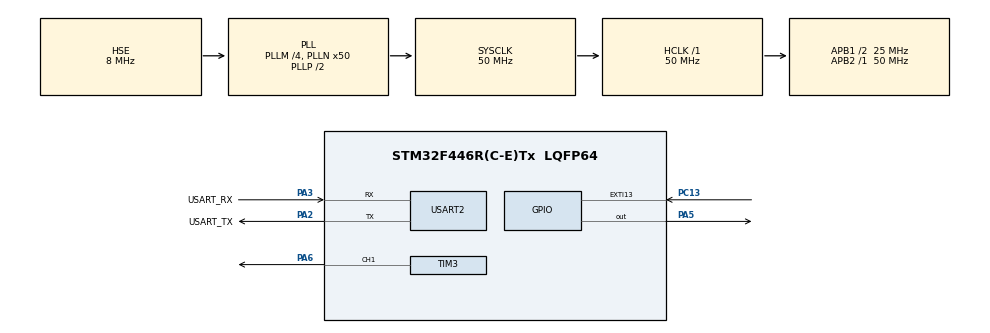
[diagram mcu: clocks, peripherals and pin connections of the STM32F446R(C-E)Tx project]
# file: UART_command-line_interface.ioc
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Mcu.Family=STM32F4
Mcu.Name=STM32F446R(C-E)Tx
Mcu.Package=LQFP64
NUCLEO-F446RE.BUTTON=1
NUCLEO-F446RE.LD1=true
NVIC.EXTI15_10_IRQn=true\:0\:0\:false\:false\:true\:false\:true\:true
NVIC.PriorityGroup=NVIC_PRIORITYGROUP_0
NVIC.USART2_IRQn=true\:0\:0\:false\:false\:true\:true\:true\:true
PA13.GPIO_Label=TMS
PA13.Signal=SYS_JTMS-SWDIO
PA14.GPIO_Label=TCK
PA14.Signal=SYS_JTCK-SWCLK
PA2.GPIO_Label=USART_TX
PA2.Mode=Asynchronous
PA2.Signal=USART2_TX
PA3.GPIO_Label=USART_RX
PA3.Mode=Asynchronous
PA3.Signal=USART2_RX
PA5.Signal=GPIO_Output
PA6.Signal=S_TIM3_CH1
PB3.GPIO_Label=SWO
PB3.Signal=SYS_JTDO-SWO
PC13.Signal=GPXTI13
PC14-OSC32_IN.Signal=RCC_OSC32_IN
PC15-OSC32_OUT.Signal=RCC_OSC32_OUT
PH0-OSC_IN.Mode=HSE-External-Oscillator
PH0-OSC_IN.Signal=RCC_OSC_IN
PH1-OSC_OUT.Mode=HSE-External-Oscillator
PH1-OSC_OUT.Signal=RCC_OSC_OUT
ProjectManager.HeapSize=0x200
ProjectManager.StackSize=0x400
ProjectManager.TargetToolchain=STM32CubeIDE
RCC.AHBFreq_Value=50000000
RCC.APB1CLKDivider=RCC_HCLK_DIV2
RCC.APB1Freq_Value=25000000
RCC.APB1TimFreq_Value=50000000
RCC.APB2Freq_Value=50000000
RCC.APB2TimFreq_Value=50000000
RCC.CortexFreq_Value=50000000
RCC.FLatency-AdvancedSettings=FLASH_LATENCY_1
RCC.HCLKFreq_Value=50000000
RCC.HSE_VALUE=8000000
RCC.HSI_VALUE=16000000
RCC.LSE_VALUE=32768
RCC.PLLM=4
RCC.PLLN=50
RCC.PLLSourceVirtual=RCC_PLLSOURCE_HSE
RCC.SYSCLKFreq_VALUE=50000000
RCC.SYSCLKSource=RCC_SYSCLKSOURCE_PLLCLK
RCC.USBFreq_Value=50000000
RCC.VCOOutputFreq_Value=100000000
SH.S_TIM3_CH1.0=TIM3_CH1,PWM Generation1 CH1
TIM3.Channel-PWM\ Generation1\ CH1=TIM_CHANNEL_1
USART2.VirtualMode=VM_ASYNC
VP_NUCLEO-F446RE_VS_BSP_COMMON.Mode=COMMON
VP_TIM3_VS_ClockSourceINT.Mode=Internal
board=NUCLEO-F446RE

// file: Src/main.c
/* USER CODE BEGIN Header */
/**
  ******************************************************************************
  * @file           : main.c
  * @brief          : Main program body
  ******************************************************************************
  * @attention
  *
  * Copyright (c) 2026 STMicroelectronics.
  * All rights reserved.
  *
  * This software is licensed under terms that can be found in the LICENSE file
  * in the root directory of this software component.
  * If no LICENSE file comes with this software, it is provided AS-IS.
  *
  ******************************************************************************
  */
/* USER CODE END Header */
#include "main.h"

/* USER CODE BEGIN Includes */
#include "ringbuffer.h"
#include <string.h>
#include <stdlib.h>
/* USER CODE END Includes */

/* USER CODE BEGIN PM */
#define RB_USABLE 32
#define RB_ARRAY_SIZE (RB_USABLE + 1)

#define LINE_MAX 63

/* USER CODE END PM */

TIM_HandleTypeDef htim3;

UART_HandleTypeDef huart2;

void SystemClock_Config(void);
static void MX_GPIO_Init(void);
static void MX_USART2_UART_Init(void);
static void MX_TIM3_Init(void);
/* USER CODE BEGIN PFP */
void String_Parse_Compare(uint8_t *line_buf);
/* USER CODE END PFP */

/* USER CODE BEGIN 0 */
uint8_t rx_byte;
uint8_t test_reads;

ringBuffer rb;
uint8_t rb_storage[RB_ARRAY_SIZE];

/* USER CODE END 0 */

int main(void)
{

  /* USER CODE BEGIN 1 */
	rb_init(&rb, rb_storage, RB_ARRAY_SIZE);
	uint8_t line_buf[LINE_MAX + 1];
	int line_len = 0;

  /* USER CODE END 1 */

  /* MCU Configuration--------------------------------------------------------*/

  /* Reset of all peripherals, Initializes the Flash interface and the Systick. */
  HAL_Init();

  /* Configure the system clock */
  SystemClock_Config();

  /* Initialize all configured peripherals */
  MX_GPIO_Init();
  MX_USART2_UART_Init();
  MX_TIM3_Init();

  /* Initialize leds */
  BSP_LED_Init(LED2);

  /* Initialize USER push-button, will be used to trigger an interrupt each time it's pressed.*/
  BSP_PB_Init(BUTTON_USER, BUTTON_MODE_EXTI);

  /* Infinite loop */
  /* USER CODE BEGIN WHILE */
  HAL_TIM_PWM_Start(&htim3, TIM_CHANNEL_1);
  HAL_UART_Receive_IT(&huart2, &rx_byte, 1);

  while (1)
  {
	  uint8_t out_byte;
	  while(rb_read(&rb, &out_byte)) {
		  // New line case
		  if (out_byte == '\r' || out_byte == '\n') {

			  // Handles empty '\n' gracefully
			  if (line_len > 0) {
				  line_buf[line_len] = '\0';
				  String_Parse_Compare(line_buf);
			  }
			  line_len = 0;
		  }

		  // Check if line_buf will overflow
		  else if (line_len >= LINE_MAX) {
		  			  // Alert user with some kind of msg maybe
		  			  line_len = 0;
		  		  }

		  // Add the byte into line_buf
		  else {
			  line_buf[line_len++] = out_byte;
		  }
	  }

    /* USER CODE END WHILE */

  }
}

void SystemClock_Config(void)
{
  RCC_OscInitTypeDef RCC_OscInitStruct = {0};
  RCC_ClkInitTypeDef RCC_ClkInitStruct = {0};

  /** Configure the main internal regulator output voltage
  */
  __HAL_RCC_PWR_CLK_ENABLE();
  __HAL_PWR_VOLTAGESCALING_CONFIG(PWR_REGULATOR_VOLTAGE_SCALE3);

  /** Initializes the RCC Oscillators according to the specified parameters
  * in the RCC_OscInitTypeDef structure.
  */
  RCC_OscInitStruct.OscillatorType = RCC_OSCILLATORTYPE_HSE;
  RCC_OscInitStruct.HSEState = RCC_HSE_ON;
  RCC_OscInitStruct.PLL.PLLState = RCC_PLL_ON;
  RCC_OscInitStruct.PLL.PLLSource = RCC_PLLSOURCE_HSE;
  RCC_OscInitStruct.PLL.PLLM = 4;
  RCC_OscInitStruct.PLL.PLLN = 50;
  RCC_OscInitStruct.PLL.PLLP = RCC_PLLP_DIV2;
  RCC_OscInitStruct.PLL.PLLQ = 2;
  RCC_OscInitStruct.PLL.PLLR = 2;
  if (HAL_RCC_OscConfig(&RCC_OscInitStruct) != HAL_OK)
  {
    Error_Handler();
  }

  /** Initializes the CPU, AHB and APB buses clocks
  */
  RCC_ClkInitStruct.ClockType = RCC_CLOCKTYPE_HCLK|RCC_CLOCKTYPE_SYSCLK
                              |RCC_CLOCKTYPE_PCLK1|RCC_CLOCKTYPE_PCLK2;
  RCC_ClkInitStruct.SYSCLKSource = RCC_SYSCLKSOURCE_PLLCLK;
  RCC_ClkInitStruct.AHBCLKDivider = RCC_SYSCLK_DIV1;
  RCC_ClkInitStruct.APB1CLKDivider = RCC_HCLK_DIV2;
  RCC_ClkInitStruct.APB2CLKDivider = RCC_HCLK_DIV1;

  if (HAL_RCC_ClockConfig(&RCC_ClkInitStruct, FLASH_LATENCY_1) != HAL_OK)
  {
    Error_Handler();
  }
}

static void MX_TIM3_Init(void)
{

  TIM_ClockConfigTypeDef sClockSourceConfig = {0};
  TIM_MasterConfigTypeDef sMasterConfig = {0};
  TIM_OC_InitTypeDef sConfigOC = {0};

  htim3.Instance = TIM3;
  htim3.Init.Prescaler = 0;
  htim3.Init.CounterMode = TIM_COUNTERMODE_UP;
  htim3.Init.Period = 65535;
  htim3.Init.ClockDivision = TIM_CLOCKDIVISION_DIV1;
  htim3.Init.AutoReloadPreload = TIM_AUTORELOAD_PRELOAD_DISABLE;
  if (HAL_TIM_Base_Init(&htim3) != HAL_OK)
  {
    Error_Handler();
  }
  sClockSourceConfig.ClockSource = TIM_CLOCKSOURCE_INTERNAL;
  if (HAL_TIM_ConfigClockSource(&htim3, &sClockSourceConfig) != HAL_OK)
  {
    Error_Handler();
  }
  if (HAL_TIM_PWM_Init(&htim3) != HAL_OK)
  {
    Error_Handler();
  }
  sMasterConfig.MasterOutputTrigger = TIM_TRGO_RESET;
  sMasterConfig.MasterSlaveMode = TIM_MASTERSLAVEMODE_DISABLE;
  if (HAL_TIMEx_MasterConfigSynchronization(&htim3, &sMasterConfig) != HAL_OK)
  {
    Error_Handler();
  }
  sConfigOC.OCMode = TIM_OCMODE_PWM1;
  sConfigOC.Pulse = 0;
  sConfigOC.OCPolarity = TIM_OCPOLARITY_HIGH;
  sConfigOC.OCFastMode = TIM_OCFAST_DISABLE;
  if (HAL_TIM_PWM_ConfigChannel(&htim3, &sConfigOC, TIM_CHANNEL_1) != HAL_OK)
  {
    Error_Handler();
  }
  HAL_TIM_MspPostInit(&htim3);

}

static void MX_USART2_UART_Init(void)
{

  huart2.Instance = USART2;
  huart2.Init.BaudRate = 115200;
  huart2.Init.WordLength = UART_WORDLENGTH_8B;
  huart2.Init.StopBits = UART_STOPBITS_1;
  huart2.Init.Parity = UART_PARITY_NONE;
  huart2.Init.Mode = UART_MODE_TX_RX;
  huart2.Init.HwFlowCtl = UART_HWCONTROL_NONE;
  huart2.Init.OverSampling = UART_OVERSAMPLING_16;
  if (HAL_UART_Init(&huart2) != HAL_OK)
  {
    Error_Handler();
  }

}

static void MX_GPIO_Init(void)
{

  /* GPIO Ports Clock Enable */
  __HAL_RCC_GPIOC_CLK_ENABLE();
  __HAL_RCC_GPIOH_CLK_ENABLE();
  __HAL_RCC_GPIOA_CLK_ENABLE();
  __HAL_RCC_GPIOB_CLK_ENABLE();

}

/* USER CODE BEGIN 4 */
void HAL_UART_RxCpltCallback(UART_HandleTypeDef *huart)
{
	rb_write(&rb, rx_byte);

	// Re-arm the UART interrupt
	HAL_UART_Receive_IT(&huart2, &rx_byte, sizeof(rx_byte));
}

void String_Parse_Compare(uint8_t *line_buf)
{
	char *tok = strtok((char *)line_buf, " ");

	if (tok != NULL && strcmp(tok, "led") == 0) {
	    char *arg = strtok(NULL, " ");
	    if (arg != NULL && strcmp(arg, "on") == 0) {
	    	// turn LED on
	    	BSP_LED_On(LED2);
	    } else if (arg != NULL && strcmp(arg, "off") == 0) {
	        // turn LED off
	    	BSP_LED_Off(LED2);
	    } else {
	        // TODO: send "ERR usage: led on|off"
	    }
	}
	else if (tok != NULL && strcmp(tok, "pwm") == 0) {
	    char *arg = strtok(NULL, " ");
	    if (arg != NULL) {
	        int val = atoi(arg);
	        if (val >= 0 && val <= 100) {
	            // TODO: set PWM duty cycle to val
	        	uint32_t arr = __HAL_TIM_GET_AUTORELOAD(&htim3);
	        	uint32_t ccr = (arr * val) / 100;
	        	__HAL_TIM_SET_COMPARE(&htim3, TIM_CHANNEL_1, ccr);
	        } else {
	            // TODO: send "ERR pwm value must be 0-100"
	        }
	    } else {
	        // TODO: send "ERR usage: pwm <0-100>"
	    }
	}
	else if (tok != NULL) {
	    // TODO: send "ERR unknown command"
	}
}

/* USER CODE END 4 */

void Error_Handler(void)
{
  __disable_irq();
  while (1)
  {
  }
}
